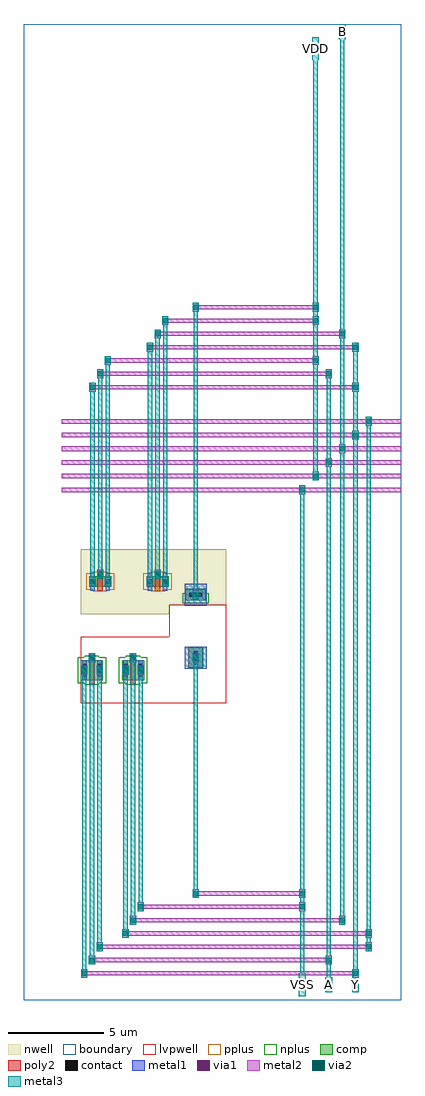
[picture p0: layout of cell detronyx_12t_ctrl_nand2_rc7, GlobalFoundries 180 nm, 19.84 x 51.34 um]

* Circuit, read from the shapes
.subckt detronyx_12t_ctrl_nand2_rc7 A B VDD VSS Y
XM1 n1 A Y VSS nfet_03v3 w=1.055u l=0.28u
XM2 VSS B n1 VSS nfet_03v3 w=1.055u l=0.28u
XM3 VDD A Y VDD pfet_03v3 w=0.56u l=0.2779u
XM4 VDD B Y VDD pfet_03v3 w=0.56u l=0.2779u
.ends

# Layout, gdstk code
import gdstk
lib = gdstk.Library(unit=1e-6, precision=1e-09)
def R(c, l, rs):  # rectangles x0, y0, x1, y1
    for r in rs: c.add(gdstk.rectangle(r[:2], r[2:], *l))
def A(c, l, x, y, w, h, nx, ny, dx, dy):  # array of equal rectangles
    R(c, l, [(x+i*dx, y+j*dy, x+i*dx+w, y+j*dy+h) for i in range(nx) for j in range(ny)])
boundary = (0, 0)
nwell = (21, 0)
comp = (22, 0)
poly2 = (30, 0)
pplus = (31, 0)
nplus = (32, 0)
contact = (33, 0)
metal1 = (34, 0)
via1 = (35, 0)
metal2 = (36, 0)
via2 = (38, 0)
metal3 = (42, 0)
lvpwell = (204, 0)

detronyx_12t_ctrl_nand2_ = lib.new_cell('detronyx_12t_ctrl_nand2_rc7')
R(detronyx_12t_ctrl_nand2_, boundary, [(0,0,19.84,51.335)])
R(detronyx_12t_ctrl_nand2_, nwell, [(3,20.295,7.64,20.8), (3,20.8,10.64,23.715)])
R(detronyx_12t_ctrl_nand2_, comp, [(3,16.82,4.16,17.875), (5.16,16.82,6.32,17.875), (8.665,17.475,9.415,18.525), (8.515,21.015,9.565,21.615), (3.43,21.725,4.59,22.28), (6.45,21.725,7.61,22.28), (3.43,22.28,3.895,22.285), (4.125,22.28,4.59,22.285), (6.45,22.28,6.915,22.285), (7.145,22.28,7.61,22.285)])
R(detronyx_12t_ctrl_nand2_, poly2, [(3.44,16.6,3.72,18.15), (5.6,16.6,5.88,18.15), (3.87,21.505,4.15,22.545), (6.89,21.505,7.17,22.545)])
R(detronyx_12t_ctrl_nand2_, pplus, [(8.645,17.455,9.435,18.545), (3.64,21.495,4.38,21.565), (6.66,21.495,7.4,21.565), (3.27,21.565,4.75,22.445), (6.29,21.565,7.77,22.445), (3.64,22.445,4.38,22.515), (6.66,22.445,7.4,22.515)])
R(detronyx_12t_ctrl_nand2_, nplus, [(3.21,16.59,3.95,16.66), (5.37,16.59,6.11,16.66), (2.84,16.66,4.32,18.035), (5,16.66,6.48,18.035), (3.21,18.035,3.95,18.105), (5.37,18.035,6.11,18.105), (8.355,20.855,9.725,21.39), (8.495,21.39,9.585,21.635)])
R(detronyx_12t_ctrl_nand2_, contact, [(3.07,17,3.29,17.22), (3.87,17,4.09,17.22), (5.23,17,5.45,17.22), (6.03,17,6.25,17.22), (3.07,17.47,3.29,17.69), (3.87,17.47,4.09,17.69), (5.23,17.47,5.45,17.69), (6.03,17.47,6.25,17.69), (8.93,17.655,9.15,17.875), (3.47,17.89,3.69,18.11), (5.63,17.89,5.85,18.11), (8.93,18.125,9.15,18.345), (8.695,21.205,8.915,21.425), (9.165,21.205,9.385,21.425), (3.5,21.895,3.72,22.115), (4.3,21.895,4.52,22.115), (6.52,21.895,6.74,22.115), (7.32,21.895,7.54,22.115), (3.9,22.285,4.12,22.505), (6.92,22.285,7.14,22.505)])
R(detronyx_12t_ctrl_nand2_, metal1, [(3.065,16.82,3.295,17.115), (3.865,16.82,4.095,17.115), (5.225,16.82,5.455,17.115), (6.025,16.82,6.255,17.115), (3.02,17.115,3.345,17.575), (3.82,17.115,4.145,17.575), (5.18,17.115,5.505,17.575), (5.98,17.115,6.305,17.575), (8.465,17.425,9.615,18.575), (3.065,17.575,3.295,17.875), (3.865,17.575,4.095,17.875), (5.225,17.575,5.455,17.875), (6.025,17.575,6.255,17.875), (3.42,17.77,3.745,18.23), (5.58,17.77,5.905,18.23), (8.465,20.74,9.615,21.89), (3.495,21.53,3.725,21.775), (4.295,21.53,4.525,21.775), (6.515,21.53,6.745,21.775), (7.315,21.53,7.545,21.775), (3.45,21.775,3.775,22.235), (4.25,21.775,4.575,22.235), (6.47,21.775,6.795,22.235), (7.27,21.775,7.595,22.235), (3.85,22.165,4.175,22.625), (6.87,22.165,7.195,22.625), (3.495,22.235,3.725,22.48), (4.295,22.235,4.525,22.48), (6.515,22.235,6.745,22.48), (7.315,22.235,7.545,22.48)])
R(detronyx_12t_ctrl_nand2_, via1, [(3.05,17.215,3.31,17.475), (3.85,17.215,4.11,17.475), (5.21,17.215,5.47,17.475), (6.01,17.215,6.27,17.475), (3.45,17.87,3.71,18.13), (5.61,17.87,5.87,18.13), (8.91,17.87,9.17,18.13), (8.91,21.185,9.17,21.445), (3.48,21.875,3.74,22.135), (4.28,21.875,4.54,22.135), (6.5,21.875,6.76,22.135), (7.3,21.875,7.56,22.135), (3.88,22.265,4.14,22.525), (6.9,22.265,7.16,22.525)])
A(detronyx_12t_ctrl_nand2_, metal2, 2, 26.715, 17.84, 0.24, 1, 6, 0, 0.72)
R(detronyx_12t_ctrl_nand2_, metal2, [(3.02,1.17,3.345,1.29), (17.28,1.17,17.605,1.29), (3.02,1.29,17.605,1.51), (3.02,1.51,3.345,1.63), (17.28,1.51,17.605,1.63), (3.42,1.87,3.745,1.99), (15.88,1.87,16.205,1.99), (3.42,1.99,16.205,2.21), (3.42,2.21,3.745,2.33), (15.88,2.21,16.205,2.33), (3.82,2.57,4.145,2.69), (17.98,2.57,18.305,2.69), (3.82,2.69,18.305,2.91), (3.82,2.91,4.145,3.03), (17.98,2.91,18.305,3.03), (5.18,3.27,5.505,3.39), (17.98,3.27,18.305,3.39), (5.18,3.39,18.305,3.61), (5.18,3.61,5.505,3.73), (17.98,3.61,18.305,3.73), (5.58,3.97,5.905,4.09), (16.58,3.97,16.905,4.09), (5.58,4.09,16.905,4.31), (5.58,4.31,5.905,4.43), (16.58,4.31,16.905,4.43), (5.98,4.67,6.305,4.79), (14.48,4.67,14.805,4.79), (5.98,4.79,14.805,5.01), (5.98,5.01,6.305,5.13), (14.48,5.01,14.805,5.13), (8.88,5.37,9.205,5.49), (14.48,5.37,14.805,5.49), (8.88,5.49,14.805,5.71), (8.88,5.71,9.205,5.83), (14.48,5.71,14.805,5.83), (3.02,17.115,3.345,17.575), (3.82,17.115,4.145,17.575), (5.18,17.115,5.505,17.575), (5.98,17.115,6.305,17.575), (3.42,17.77,3.745,18.23), (5.58,17.77,5.905,18.23), (8.88,17.77,9.205,18.23), (8.88,21.085,9.205,21.545), (3.45,21.775,3.775,22.235), (4.25,21.775,4.575,22.235), (6.47,21.775,6.795,22.235), (7.27,21.775,7.595,22.235), (3.85,22.165,4.175,22.625), (6.87,22.165,7.195,22.625), (14.48,26.605,14.805,26.715), (14.48,26.955,14.805,27.065), (15.18,27.325,15.505,27.435), (15.18,27.675,15.505,27.785), (15.88,28.045,16.205,28.155), (15.88,28.395,16.205,28.505), (16.58,28.765,16.905,28.875), (16.58,29.115,16.905,29.225), (17.28,29.485,17.605,29.595), (17.28,29.835,17.605,29.945), (17.98,30.205,18.305,30.315), (17.98,30.555,18.305,30.665), (3.45,32.005,3.775,32.125), (17.28,32.005,17.605,32.125), (3.45,32.125,17.605,32.345), (3.45,32.345,3.775,32.465), (17.28,32.345,17.605,32.465), (3.85,32.705,4.175,32.825), (15.88,32.705,16.205,32.825), (3.85,32.825,16.205,33.045), (3.85,33.045,4.175,33.165), (15.88,33.045,16.205,33.165), (4.25,33.405,4.575,33.525), (15.18,33.405,15.505,33.525), (4.25,33.525,15.505,33.745), (4.25,33.745,4.575,33.865), (15.18,33.745,15.505,33.865), (6.47,34.105,6.795,34.225), (17.28,34.105,17.605,34.225), (6.47,34.225,17.605,34.445), (6.47,34.445,6.795,34.565), (17.28,34.445,17.605,34.565), (6.87,34.805,7.195,34.925), (16.58,34.805,16.905,34.925), (6.87,34.925,16.905,35.145), (6.87,35.145,7.195,35.265), (16.58,35.145,16.905,35.265), (7.27,35.505,7.595,35.625), (15.18,35.505,15.505,35.625), (7.27,35.625,15.505,35.845), (7.27,35.845,7.595,35.965), (15.18,35.845,15.505,35.965), (8.88,36.205,9.205,36.325), (15.18,36.205,15.505,36.325), (8.88,36.325,15.505,36.545), (8.88,36.545,9.205,36.665), (15.18,36.545,15.505,36.665)])
R(detronyx_12t_ctrl_nand2_, via2, [(3.05,1.27,3.31,1.53), (17.31,1.27,17.57,1.53), (3.45,1.97,3.71,2.23), (15.91,1.97,16.17,2.23), (3.85,2.67,4.11,2.93), (18.01,2.67,18.27,2.93), (5.21,3.37,5.47,3.63), (18.01,3.37,18.27,3.63), (5.61,4.07,5.87,4.33), (16.61,4.07,16.87,4.33), (6.01,4.77,6.27,5.03), (14.51,4.77,14.77,5.03), (8.91,5.47,9.17,5.73), (14.51,5.47,14.77,5.73), (3.05,17.215,3.31,17.475), (3.85,17.215,4.11,17.475), (5.21,17.215,5.47,17.475), (6.01,17.215,6.27,17.475), (3.45,17.87,3.71,18.13), (5.61,17.87,5.87,18.13), (8.91,17.87,9.17,18.13), (8.91,21.185,9.17,21.445), (3.48,21.875,3.74,22.135), (4.28,21.875,4.54,22.135), (6.5,21.875,6.76,22.135), (7.3,21.875,7.56,22.135), (3.88,22.265,4.14,22.525), (6.9,22.265,7.16,22.525), (14.51,26.705,14.77,26.965), (15.21,27.425,15.47,27.685), (15.91,28.145,16.17,28.405), (16.61,28.865,16.87,29.125), (17.31,29.585,17.57,29.845), (18.01,30.305,18.27,30.565), (3.48,32.105,3.74,32.365), (17.31,32.105,17.57,32.365), (3.88,32.805,4.14,33.065), (15.91,32.805,16.17,33.065), (4.28,33.505,4.54,33.765), (15.21,33.505,15.47,33.765), (6.5,34.205,6.76,34.465), (17.31,34.205,17.57,34.465), (6.9,34.905,7.16,35.165), (16.61,34.905,16.87,35.165), (7.3,35.605,7.56,35.865), (15.21,35.605,15.47,35.865), (8.91,36.305,9.17,36.565), (15.21,36.305,15.47,36.565)])
R(detronyx_12t_ctrl_nand2_, metal3, [(14.46,0.2,14.82,1.4), (15.86,0.4,16.22,1.2), (17.26,0.4,17.62,1.2), (3.02,1.17,3.345,1.63), (15.93,1.2,16.15,1.87), (17.28,1.2,17.605,1.63), (14.53,1.4,14.75,4.67), (3.07,1.63,3.29,17.115), (17.33,1.63,17.55,29.485), (3.42,1.87,3.745,2.33), (15.88,1.87,16.205,2.33), (3.47,2.33,3.69,17.77), (15.93,2.33,16.15,28.045), (3.82,2.57,4.145,3.03), (17.98,2.57,18.305,3.03), (3.87,3.03,4.09,17.115), (18.03,3.03,18.25,3.27), (5.18,3.27,5.505,3.73), (17.98,3.27,18.305,3.73), (5.23,3.73,5.45,17.115), (18.03,3.73,18.25,30.205), (5.58,3.97,5.905,4.43), (16.58,3.97,16.905,4.43), (5.63,4.43,5.85,17.77), (16.63,4.43,16.85,28.765), (5.98,4.67,6.305,5.13), (14.48,4.67,14.805,5.13), (6.03,5.13,6.25,17.115), (14.53,5.13,14.75,5.37), (8.88,5.37,9.205,5.83), (14.48,5.37,14.805,5.83), (8.93,5.83,9.15,17.77), (14.53,5.83,14.75,26.605), (3.02,17.115,3.345,17.575), (3.82,17.115,4.145,17.575), (5.18,17.115,5.505,17.575), (5.98,17.115,6.305,17.575), (3.42,17.77,3.745,18.23), (5.58,17.77,5.905,18.23), (8.88,17.77,9.205,18.23), (8.88,21.085,9.205,21.545), (8.93,21.545,9.15,36.205), (3.45,21.775,3.775,22.235), (4.25,21.775,4.575,22.235), (6.47,21.775,6.795,22.235), (7.27,21.775,7.595,22.235), (3.85,22.165,4.175,22.625), (6.87,22.165,7.195,22.625), (3.5,22.235,3.72,32.005), (4.3,22.235,4.52,33.405), (6.52,22.235,6.74,34.105), (7.32,22.235,7.54,35.505), (3.9,22.625,4.12,32.705), (6.92,22.625,7.14,34.805), (14.48,26.605,14.805,27.065), (15.18,27.325,15.505,27.785), (15.23,27.785,15.45,33.405), (15.88,28.045,16.205,28.505), (15.93,28.505,16.15,32.705), (16.58,28.765,16.905,29.225), (16.63,29.225,16.85,34.805), (17.28,29.485,17.605,29.945), (17.33,29.945,17.55,32.005), (17.98,30.205,18.305,30.665), (3.45,32.005,3.775,32.465), (17.28,32.005,17.605,32.465), (17.33,32.465,17.55,34.105), (3.85,32.705,4.175,33.165), (15.88,32.705,16.205,33.165), (4.25,33.405,4.575,33.865), (15.18,33.405,15.505,33.865), (15.23,33.865,15.45,35.505), (6.47,34.105,6.795,34.565), (17.28,34.105,17.605,34.565), (6.87,34.805,7.195,35.265), (16.58,34.805,16.905,35.265), (16.63,35.265,16.85,50.535), (7.27,35.505,7.595,35.965), (15.18,35.505,15.505,35.965), (15.23,35.965,15.45,36.205), (8.88,36.205,9.205,36.665), (15.18,36.205,15.505,36.665), (15.23,36.665,15.45,49.435), (15.16,49.435,15.52,50.635), (16.56,50.535,16.92,51.335)])
R(detronyx_12t_ctrl_nand2_, lvpwell, [(3,15.6,10.64,19.095), (7.64,19.095,10.64,20.8)])
detronyx_12t_ctrl_nand2_.add(gdstk.Label('VDD', (15.34,50.035), layer=42, texttype=10))
detronyx_12t_ctrl_nand2_.add(gdstk.Label('VSS', (14.64,0.8), layer=42, texttype=10))
detronyx_12t_ctrl_nand2_.add(gdstk.Label('A', (16.04,0.8), layer=42, texttype=10))
detronyx_12t_ctrl_nand2_.add(gdstk.Label('B', (16.74,50.935), layer=42, texttype=10))
detronyx_12t_ctrl_nand2_.add(gdstk.Label('Y', (17.44,0.8), layer=42, texttype=10))

lib.write_gds('detronyx_12t_ctrl_nand2_rc7.gds')
